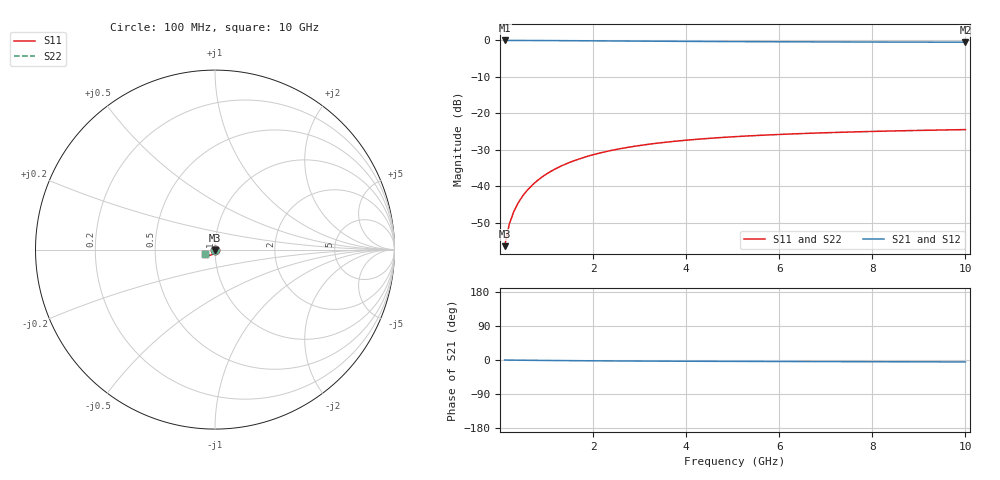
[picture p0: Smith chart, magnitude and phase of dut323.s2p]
! Touchstone file exported from HFSS 2024.1.0
!  File:  C:/UserFiles/LocalFiles/RDL_TSV_Batchsim/temp_TSV1_323_1779617084.aedt
!  Generated:  06:12:18 PM May 24, 2026
!  Design:  TSV1
!  Project:  temp_TSV1_323_1779617084
!  Setup:  Setup1
!  Solution:  Sweep
! Variables:
!  dtsv = 12.06um
!  hbump = 3um
!  htsv = 77.82um
!  lrdl = 252.1521522um
!  p = 40
!  p1 = 40.04um
!  t = 500um
!  trdl = 3um
!  wrdl = 24.89489489um
# GHz S MA R 50.000000
! Terminal data exported
! Port[1] = TSV22_T1
! Port[2] = TSV22_T2
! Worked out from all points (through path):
!   100 points, 100 MHz to 10 GHz, reference 50 ohm
!   highest |S21| = 0.00 dB at 100 MHz (marker M1); lowest = -0.5 dB at 10 GHz (marker M2)
!   lowest |S11| = -56.4 dB at 100 MHz (marker M3), VSWR 1.00, Z = 50 - j0.151 ohm
!   |S11| at or under -10 dB: start of sweep to end of sweep
!   |S22| runs from -56.4 to -24.4 dB; largest |S21 - S12| = 9.5e-15
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0.1  0.001513 -87.5  0.9999 -0.1  0.9999 -0.1  0.001513 -87.5
! Gamma 0 0 0 0
! Port Impedance 50 0 50 0
0.2  0.003029 -90.6  0.9997 -0.2  0.9997 -0.2  0.003029 -90.6
0.3  0.004547 -92.7  0.9995 -0.4  0.9995 -0.4  0.004547 -92.7
0.4  0.006058 -94.4  0.9993 -0.5  0.9993 -0.5  0.006058 -94.4
0.5  0.007557 -96.0  0.9989 -0.6  0.9989 -0.6  0.007557 -96.0
0.6  0.009041 -97.6  0.9985 -0.7  0.9985 -0.7  0.009041 -97.6
0.7  0.01051 -99.1  0.998 -0.9  0.998 -0.9  0.01051 -99.1
0.8  0.01195 -100.5  0.9975 -1.0  0.9975 -1.0  0.01195 -100.5
0.9  0.01337 -102.0  0.9969 -1.1  0.9969 -1.1  0.01337 -102.0
1.1  0.01614 -104.7  0.9956 -1.3  0.9956 -1.3  0.01614 -104.7
1.4  0.02008 -108.6  0.9933 -1.6  0.9933 -1.6  0.02008 -108.6
1.6  0.02254 -111.1  0.9916 -1.8  0.9916 -1.8  0.02254 -111.1
1.8  0.02488 -113.4  0.9898 -2.0  0.9898 -2.0  0.02488 -113.4
2.1  0.02814 -116.7  0.9871 -2.2  0.9871 -2.2  0.02814 -116.7
2.5  0.03205 -120.8  0.9835 -2.5  0.9835 -2.5  0.03205 -120.8
2.9  0.03548 -124.4  0.98 -2.7  0.98 -2.7  0.03548 -124.4
3.4  0.03918 -128.4  0.9758 -3.0  0.9758 -3.0  0.03918 -128.4
4.2  0.04399 -133.8  0.9698 -3.3  0.9698 -3.3  0.04399 -133.8
5.1  0.04818 -138.7  0.9641 -3.7  0.9641 -3.7  0.04818 -138.7
6.7  0.05352 -145.2  0.9563 -4.2  0.9563 -4.2  0.05352 -145.2
8.4  0.05737 -150.3  0.9504 -4.6  0.9504 -4.6  0.05737 -150.3
10  0.05995 -153.9  0.9464 -5.1  0.9464 -5.1  0.05995 -153.9
